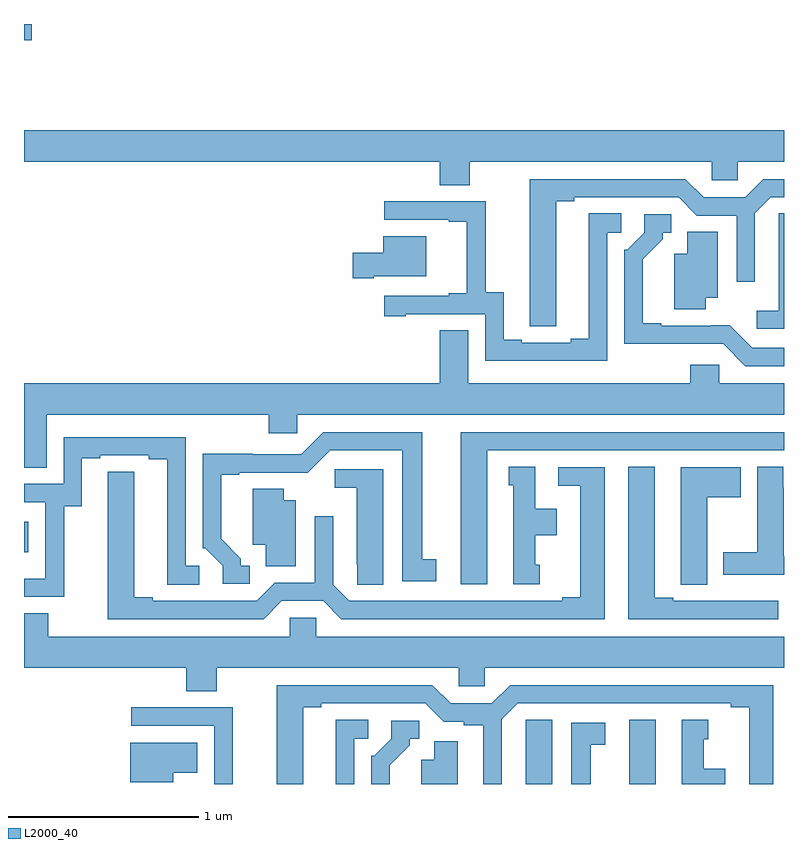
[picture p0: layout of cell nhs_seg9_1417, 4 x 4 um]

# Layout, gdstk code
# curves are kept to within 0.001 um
import gdstk
lib = gdstk.Library(unit=1e-6, precision=1e-09)
def R(c, l, rs):  # rectangles x0, y0, x1, y1
    for r in rs: c.add(gdstk.rectangle(r[:2], r[2:], *l))
def P(c, l, *ps):  # polygons
    for p in ps: c.add(gdstk.Polygon(p, *l))
L2000_40 = (2000, 40)

nhs_seg9_1417 = lib.new_cell('nhs_seg9_1417')
R(nhs_seg9_1417, L2000_40, [(194.186,1170.5,194.326,1170.838), (191,1171.721,191.023,1171.879), (191,1174.414,191.041,1174.5)])
P(nhs_seg9_1417, L2000_40, [(193.347,1173.776),(194.619,1173.776),(194.619,1173.678),(194.757,1173.678),(194.757,1173.776),(195,1173.776),(195,1173.94),(191,1173.94),(191,1173.776),(193.187,1173.776),(193.187,1173.652),(193.347,1173.652)],
  [(193.801,1173.568),(193.897,1173.568),(193.897,1173.588),(194.445,1173.588),(194.541,1173.492),(194.751,1173.492),(194.751,1173.144),(194.847,1173.144),(194.847,1173.504),(194.931,1173.588),(195,1173.588),(195,1173.684),(194.891,1173.684),(194.795,1173.588),(194.577,1173.588),(194.481,1173.684),(193.661,1173.684),(193.662,1172.908),(193.801,1172.908)],
  [(194.07,1173.402),(194.143,1173.402),(194.143,1173.503),(193.973,1173.503),(193.973,1172.843),(193.877,1172.843),(193.877,1172.823),(193.621,1172.823),(193.621,1172.838),(193.525,1172.838),(193.525,1173.089),(193.431,1173.089),(193.431,1173.567),(192.897,1173.567),(192.897,1173.471),(193.235,1173.471),(193.235,1173.459),(193.331,1173.459),(193.331,1173.082),(193.235,1173.082),(193.235,1173.069),(192.897,1173.069),(192.897,1172.961),(193.009,1172.961),(193.009,1172.973),(193.428,1172.973),(193.428,1172.727),(194.07,1172.727)],
  [(195,1173.503),(194.973,1173.503),(194.973,1173.395),(194.972,1173.395),(194.972,1172.992),(194.856,1172.992),(194.856,1172.895),(195,1172.895)],
  [(195,1172.796),(194.832,1172.796),(194.714,1172.914),(194.353,1172.913),(194.353,1172.926),(194.257,1172.926),(194.257,1173.262),(194.362,1173.367),(194.362,1173.402),(194.407,1173.402),(194.407,1173.498),(194.265,1173.498),(194.265,1173.402),(194.175,1173.312),(194.16,1173.312),(194.16,1172.816),(194.679,1172.817),(194.796,1172.7),(195,1172.7)],
  [(194.587,1173.059),(194.65,1173.059),(194.65,1173.407),(194.492,1173.407),(194.492,1173.292),(194.423,1173.292),(194.423,1172.998),(194.587,1172.998)],
  [(192.841,1173.173),(193.117,1173.173),(193.117,1173.382),(192.89,1173.382),(192.89,1173.295),(192.729,1173.295),(192.729,1173.161),(192.841,1173.161)],
  [(191.119,1172.444),(192.287,1172.444),(192.287,1172.346),(192.438,1172.346),(192.438,1172.444),(195,1172.444),(195,1172.608),(194.658,1172.608),(194.658,1172.706),(194.507,1172.706),(194.507,1172.608),(193.339,1172.608),(193.339,1172.888),(193.187,1172.888),(193.187,1172.608),(191,1172.608),(191,1172.164),(191.119,1172.164)],
  [(192.187,1171.65),(192.142,1171.65),(192.142,1171.685),(192.037,1171.79),(192.037,1172.127),(192.133,1172.127),(192.133,1172.139),(192.494,1172.138),(192.612,1172.256),(192.992,1172.256),(192.992,1171.566),(193.171,1171.566),(193.171,1171.682),(193.096,1171.682),(193.096,1172.352),(192.576,1172.352),(192.459,1172.235),(192.203,1172.235),(192.203,1172.237),(191.94,1172.237),(191.94,1171.74),(191.955,1171.74),(192.045,1171.65),(192.045,1171.554),(192.187,1171.554)],
  [(193.438,1172.256),(195,1172.256),(195,1172.352),(193.298,1172.352),(193.298,1171.551),(193.438,1171.551)],
  [(191.211,1171.963),(191.305,1171.963),(191.305,1172.214),(191.401,1172.214),(191.401,1172.229),(191.657,1172.229),(191.657,1172.209),(191.753,1172.209),(191.753,1171.549),(191.923,1171.549),(191.923,1171.65),(191.85,1171.65),(191.85,1172.325),(191.208,1172.325),(191.208,1172.079),(191,1172.079),(191,1171.983),(191.112,1171.983),(191.112,1171.582),(191.111,1171.582),(191.111,1171.581),(191,1171.581),(191,1171.485),(191.211,1171.485)],
  [(194.971,1171.464),(194.858,1171.464),(194.858,1171.465),(194.692,1171.465),(194.692,1171.464),(194.416,1171.464),(194.416,1171.479),(194.32,1171.479),(194.32,1172.171),(194.18,1172.171),(194.18,1171.368),(194.971,1171.368)],
  [(195,1171.698),(194.998,1171.698),(194.998,1172.06),(194.997,1172.06),(194.997,1172.171),(194.858,1172.171),(194.858,1171.719),(194.681,1171.719),(194.681,1171.602),(195,1171.602)],
  [(193.714,1171.653),(193.69,1171.653),(193.69,1171.808),(193.804,1171.808),(193.804,1171.948),(193.69,1171.948),(193.69,1172.171),(193.55,1172.171),(193.55,1172.073),(193.574,1172.073),(193.574,1171.551),(193.714,1171.551)],
  [(194.596,1172.008),(194.773,1172.008),(194.773,1172.167),(194.456,1172.167),(194.456,1171.657),(194.457,1171.657),(194.457,1171.549),(194.596,1171.549)],
  [(192.357,1171.464),(192.575,1171.464),(192.671,1171.368),(194.056,1171.368),(194.056,1172.166),(193.812,1172.166),(193.812,1172.07),(193.928,1172.07),(193.928,1171.484),(193.832,1171.484),(193.832,1171.464),(192.711,1171.464),(192.627,1171.548),(192.627,1171.909),(192.531,1171.909),(192.531,1171.56),(192.321,1171.56),(192.225,1171.464),(191.677,1171.464),(191.677,1171.484),(191.581,1171.484),(191.581,1172.144),(191.442,1172.144),(191.441,1171.368),(192.261,1171.368)],
  [(192.892,1172.157),(192.636,1172.157),(192.636,1172.06),(192.752,1172.06),(192.752,1171.657),(192.753,1171.657),(192.753,1171.549),(192.892,1171.549)],
  [(192.43,1171.993),(192.367,1171.993),(192.367,1172.054),(192.203,1172.054),(192.203,1171.76),(192.272,1171.76),(192.272,1171.645),(192.43,1171.645)],
  [(192.015,1171.112),(193.287,1171.112),(193.287,1171.014),(193.425,1171.014),(193.425,1171.112),(195,1171.112),(195,1171.276),(192.537,1171.276),(192.537,1171.374),(192.399,1171.374),(192.399,1171.276),(191.127,1171.276),(191.127,1171.4),(191,1171.4),(191,1171.112),(191.855,1171.112),(191.855,1170.988),(192.015,1170.988)],
  [(192.469,1170.904),(192.565,1170.904),(192.565,1170.924),(193.113,1170.924),(193.209,1170.828),(193.314,1170.828),(193.314,1170.808),(193.418,1170.808),(193.418,1170.5),(193.515,1170.5),(193.515,1170.84),(193.599,1170.924),(194.72,1170.924),(194.72,1170.904),(194.816,1170.904),(194.816,1170.5),(194.944,1170.5),(194.944,1171.02),(193.559,1171.02),(193.463,1170.924),(193.245,1170.924),(193.149,1171.02),(192.329,1171.02),(192.329,1170.5),(192.469,1170.5)],
  [(192.099,1170.903),(191.565,1170.903),(191.565,1170.807),(192,1170.807),(192,1170.5),(192.099,1170.5)],
  [(193.78,1170.839),(193.641,1170.839),(193.641,1170.731),(193.64,1170.731),(193.64,1170.5),(193.78,1170.5)],
  [(192.738,1170.738),(192.811,1170.738),(192.811,1170.839),(192.641,1170.839),(192.641,1170.5),(192.738,1170.5)],
  [(194.692,1170.58),(194.578,1170.58),(194.578,1170.735),(194.602,1170.735),(194.602,1170.838),(194.462,1170.838),(194.462,1170.5),(194.692,1170.5)],
  [(192.925,1170.598),(193.03,1170.703),(193.03,1170.738),(193.08,1170.738),(193.08,1170.834),(192.933,1170.834),(192.933,1170.738),(192.843,1170.648),(192.828,1170.648),(192.828,1170.5),(192.925,1170.5)],
  [(193.984,1170.706),(194.059,1170.706),(194.059,1170.822),(193.88,1170.822),(193.88,1170.5),(193.984,1170.5)],
  [(193.282,1170.726),(193.16,1170.726),(193.16,1170.628),(193.091,1170.628),(193.091,1170.5),(193.282,1170.5)],
  [(191.785,1170.56),(191.911,1170.56),(191.911,1170.718),(191.558,1170.718),(191.558,1170.509),(191.785,1170.509)])

lib.write_gds('nhs_seg9_1417.gds')
